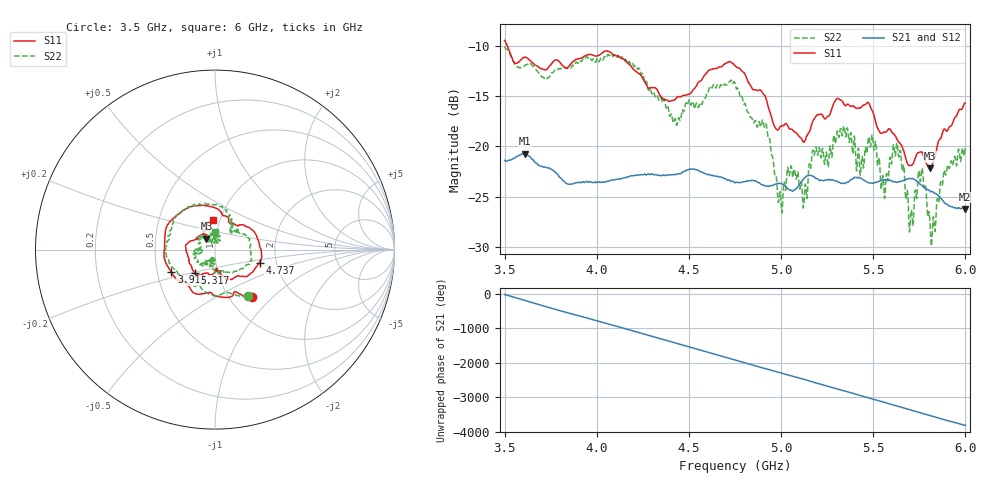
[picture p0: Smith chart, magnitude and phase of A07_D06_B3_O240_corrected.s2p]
! Created with skrf 1.9.0 (http://scikit-rf.org).
# Hz S RI R 50.0
!freq ReS11 ImS11 ReS21 ImS21 ReS12 ImS12 ReS22 ImS22
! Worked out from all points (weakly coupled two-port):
!   1601 points, 3.5 GHz to 6 GHz, reference 50 ohm
!   highest |S21| = -20.73 dB at 3.609 GHz (marker M1); lowest = -26.2 dB at 5.997 GHz (marker M2)
!   lowest |S11| = -22.2 dB at 5.808 GHz (marker M3), VSWR 1.17, Z = 45.1 + j5.57 ohm
!   |S11| at or under -10 dB: 3.515 GHz to end of sweep
!   |S22| runs from -29.9 to -10.0 dB; largest |S21 - S12| = 0.0011
!   S11 on the Smith chart (normalised r, x): 3.5 GHz: 1.27, -0.76; 3.913 GHz: 0.59, -0.16; 4.737 GHz: 1.63, -0.25; 5.317 GHz: 0.77, -0.20; 6 GHz: 0.92, +0.31
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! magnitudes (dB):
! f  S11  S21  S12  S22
! 3.5 GHz  -9.5  -21.4  -21.4  -10.0
! 3.609 GHz  -11.1  -20.7  -20.7  -12.0
! 3.913 GHz  -11.2  -23.6  -23.6  -11.5
! 3.917 GHz  -11.2  -23.6  -23.6  -11.6
! 4.127 GHz  -11.1  -23.2  -23.2  -11.4
! 4.334 GHz  -14.6  -22.9  -22.8  -15.3
! 4.427 GHz  -15.3  -22.8  -22.8  -17.3
! 4.737 GHz  -11.8  -23.5  -23.5  -13.8
! 4.75 GHz  -12.0  -23.6  -23.5  -13.7
! 4.912 GHz  -15.0  -23.9  -23.9  -18.0
! 4.995 GHz  -18.0  -23.7  -23.6  -24.5
! 5.045 GHz  -18.3  -24.3  -24.3  -22.9
! 5.13 GHz  -19.5  -23.1  -23.1  -23.9
! 5.167 GHz  -17.7  -22.9  -22.9  -20.9
! 5.317 GHz  -15.3  -23.6  -23.5  -18.8
! 5.584 GHz  -18.3  -23.3  -23.3  -22.6
! 5.639 GHz  -19.6  -23.5  -23.5  -21.1
! 5.706 GHz  -21.9  -23.2  -23.1  -26.3
! 5.758 GHz  -20.6  -23.8  -23.7  -23.3
! 5.808 GHz  -22.2  -24.4  -24.4  -27.6
! 5.997 GHz  -15.7  -26.2  -26.1  -20.6
! 6 GHz  -15.7  -26.2  -26.1  -20.0
